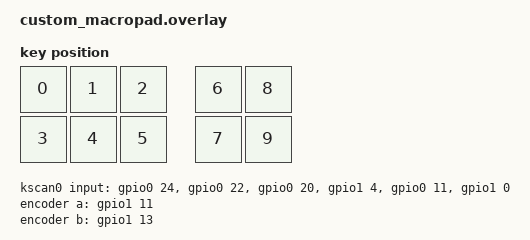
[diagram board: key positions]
/*
 * Custom Macropad Shield Overlay
 * MCU: nRF52840
 *
 * 位置映射:
 *   0..5  : 6 个实体按键
 *   6     : 编码器 CW  (虚拟按键)
 *   7     : 编码器 CCW (虚拟按键)
 *   8     : 滑条音量 + (虚拟按键，由 ADC 触发)
 *   9     : 滑条音量 - (虚拟按键，由 ADC 触发)
 *
 * 外设:
 *   SPI3 + P0.17  → 6 颗 WS2812 背光 (ZMK RGB underglow 接管)
 *   ADC AIN5=P0.29 → 滑动变阻器 (自定义模块接管，映射到系统音量)
 *   AIN2 = P0.04  → 电池分压 (保持原样)
 *
 * 说明:
 *   P0.29 从原状态灯 (SPI1 WS2812) 改为 ADC 输入。
 *   SPI1 / SPI2 相关内容已移除。
 */

#include <behaviors.dtsi>
#include <dt-bindings/zmk/keys.h>
#include <dt-bindings/zmk/bt.h>
#include <dt-bindings/zmk/rgb.h>
#include <dt-bindings/zmk/outputs.h>
#include <dt-bindings/led/led.h>
#include <physical_layouts.dtsi>

/ {
    chosen {
        zmk,kscan           = &kscan0;
        zmk,physical-layout = &physical_layout0;
        zmk,battery         = &vbatt;
        zmk,underglow       = &backlight_strip;
    };

    /* 电池电压分压 (保持原样，AIN2 = P0.04) */
    vbatt: vbatt {
        compatible  = "zmk,battery-voltage-divider";
        io-channels = <&adc 2>;
        output-ohms = <5100000>;
        full-ohms   = <(5100000 + 5100000)>;
    };

    ext_power {
        compatible    = "zmk,ext-power-generic";
        control-gpios = <&gpio0 13 GPIO_ACTIVE_HIGH>;
        init-delay-ms = <50>;
    };

    /* 6 个直连按键 */
    kscan0: kscan_0 {
        compatible = "zmk,kscan-gpio-direct";
        wakeup-source;
        input-gpios
            = <&gpio0 24 (GPIO_ACTIVE_LOW | GPIO_PULL_UP)>   /* Key 1 = P0.24 */
            , <&gpio0 22 (GPIO_ACTIVE_LOW | GPIO_PULL_UP)>   /* Key 2 = P0.22 */
            , <&gpio0 20 (GPIO_ACTIVE_LOW | GPIO_PULL_UP)>   /* Key 3 = P0.20 */
            , <&gpio1 4  (GPIO_ACTIVE_LOW | GPIO_PULL_UP)>   /* Key 4 = P1.04 */
            , <&gpio0 11 (GPIO_ACTIVE_LOW | GPIO_PULL_UP)>   /* Key 5 = P0.11 */
            , <&gpio1 0  (GPIO_ACTIVE_LOW | GPIO_PULL_UP)>   /* Key 6 = P1.00 */
            ;
    };

    /* 矩阵变换: 1 行 × 10 列 (6 实体 + 2 编码器 + 2 滑条虚拟键) */
    direct_transform: direct_matrix_transform {
        compatible = "zmk,matrix-transform";
        rows    = <1>;
        columns = <10>;
        map     = <0 1 2 3 4 5 6 7 8 9>;
    };

    physical_layout0: physical_layout_0 {
        compatible   = "zmk,physical-layout";
        display-name = "Default Layout";
        transform    = <&direct_transform>;
        kscan        = <&kscan0>;
        keys =
            <&key_physical_attrs 100 100   0   0   0 0 0>,   /* pos 0: Key 1 */
            <&key_physical_attrs 100 100 100   0   0 0 0>,   /* pos 1: Key 2 */
            <&key_physical_attrs 100 100 200   0   0 0 0>,   /* pos 2: Key 3 */
            <&key_physical_attrs 100 100   0 100   0 0 0>,   /* pos 3: Key 4 */
            <&key_physical_attrs 100 100 100 100   0 0 0>,   /* pos 4: Key 5 */
            <&key_physical_attrs 100 100 200 100   0 0 0>,   /* pos 5: Key 6 */
            <&key_physical_attrs 100 100 350   0   0 0 0>,   /* pos 6: Encoder CW  */
            <&key_physical_attrs 100 100 350 100   0 0 0>,   /* pos 7: Encoder CCW */
            <&key_physical_attrs 100 100 450   0   0 0 0>,   /* pos 8: Slider VOL+ */
            <&key_physical_attrs 100 100 450 100   0 0 0>    /* pos 9: Slider VOL- */
            ;
    };

    /* EC11 编码器 */
    encoder: encoder_0 {
        compatible = "alps,ec11";
        a-gpios = <&gpio1 11 (GPIO_ACTIVE_LOW | GPIO_PULL_UP)>;
        b-gpios = <&gpio1 13 (GPIO_ACTIVE_LOW | GPIO_PULL_UP)>;
        steps  = <24>;
        status = "okay";
    };

    sensors: sensors {
        compatible = "zmk,keymap-sensors";
        sensors    = <&encoder>;
        triggers-per-rotation = <24>;
    };

    /* ★ 供自定义 C 模块读取 ADC 用 */
    zephyr,user {
        io-channels = <&adc 5>;   /* 数组索引 0 → 通道 5 (AIN5 = P0.29) */
    };
};

/* ============================================================
 * SPI3: 6 颗背光 WS2812, P0.17 (ZMK RGB underglow 使用)
 * ============================================================ */
&spi3 {
    compatible    = "nordic,nrf-spim";
    status        = "okay";
    pinctrl-0     = <&spi3_default>;
    pinctrl-1     = <&spi3_sleep>;
    pinctrl-names = "default", "sleep";

    backlight_strip: ws2812@0 {
        compatible        = "worldsemi,ws2812-spi";
        label             = "WS2812_BACKLIGHT";
        reg               = <0>;
        spi-max-frequency = <4000000>;
        chain-length      = <6>;
        spi-one-frame     = <0x70>;
        spi-zero-frame    = <0x40>;
        color-mapping     = <LED_COLOR_ID_GREEN
                             LED_COLOR_ID_RED
                             LED_COLOR_ID_BLUE>;
    };
};

/* ============================================================
 * ADC (SAADC): 开启并配置两个通道
 *   通道 2 (AIN2 = P0.04) → 电池分压
 *   通道 5 (AIN5 = P0.29) → 滑动变阻器
 * ============================================================ */
&adc {
    status = "okay";

    #address-cells = <1>;
    #size-cells    = <0>;

    /* 通道 2 → 电池分压 (原有) */
    channel@2 {
        reg = <2>;
        zephyr,gain             = "ADC_GAIN_1_6";
        zephyr,reference        = "ADC_REF_INTERNAL";
        zephyr,acquisition-time = <ADC_ACQ_TIME(ADC_ACQ_TIME_MICROSECONDS, 40)>;
        zephyr,input-positive   = <NRF_SAADC_AIN2>;
        zephyr,resolution       = <12>;
    };

    /* 通道 5 → 滑动变阻器 (新增) */
    channel@5 {
        reg = <5>;
        zephyr,gain             = "ADC_GAIN_1_6";
        zephyr,reference        = "ADC_REF_INTERNAL";
        zephyr,acquisition-time = <ADC_ACQ_TIME(ADC_ACQ_TIME_MICROSECONDS, 40)>;
        zephyr,input-positive   = <NRF_SAADC_AIN5>;
        zephyr,resolution       = <12>;
    };
};

/* ============================================================
 * pinctrl 配置 (只保留 SPI3 背光)
 * ============================================================ */
&pinctrl {
    spi3_default: spi3_default {
        group1 {
            psels = <NRF_PSEL(SPIM_MOSI, 0, 17)>;
        };
    };

    spi3_sleep: spi3_sleep {
        group1 {
            psels = <NRF_PSEL(SPIM_MOSI, 0, 17)>;
            low-power-enable;
        };
    };
};
